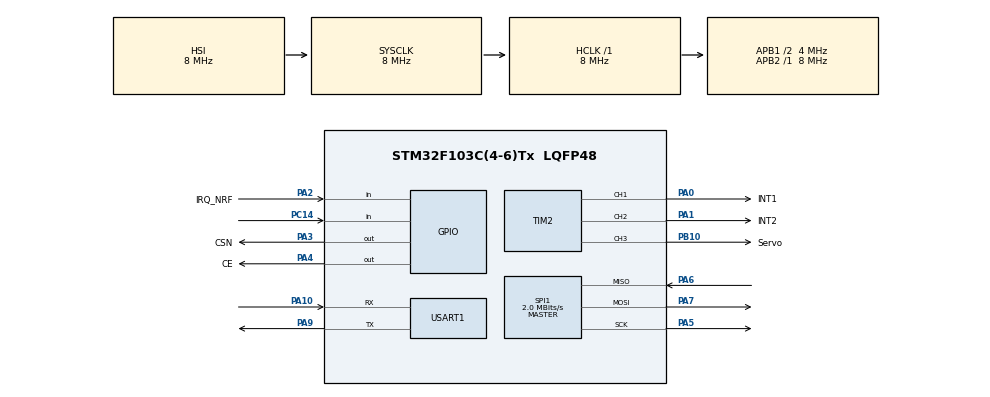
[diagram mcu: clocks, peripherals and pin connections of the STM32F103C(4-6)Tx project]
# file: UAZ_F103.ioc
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Mcu.Family=STM32F1
Mcu.Name=STM32F103C(4-6)Tx
Mcu.Package=LQFP48
NVIC.PriorityGroup=NVIC_PRIORITYGROUP_4
PA0-WKUP.GPIO_Label=INT1
PA0-WKUP.Signal=S_TIM2_CH1_ETR
PA1.GPIO_Label=INT2
PA1.Signal=S_TIM2_CH2
PA10.Mode=Asynchronous
PA10.Signal=USART1_RX
PA13.Mode=Serial_Wire
PA13.Signal=SYS_JTMS-SWDIO
PA14.Mode=Serial_Wire
PA14.Signal=SYS_JTCK-SWCLK
PA2.GPIO_Label=IRQ_NRF
PA2.Signal=GPIO_Input
PA3.GPIO_Label=CSN
PA3.Signal=GPIO_Output
PA4.GPIO_Label=CE
PA4.Signal=GPIO_Output
PA5.Mode=Full_Duplex_Master
PA5.Signal=SPI1_SCK
PA6.Mode=Full_Duplex_Master
PA6.Signal=SPI1_MISO
PA7.Mode=Full_Duplex_Master
PA7.Signal=SPI1_MOSI
PA9.Mode=Asynchronous
PA9.Signal=USART1_TX
PB10.GPIO_Label=Servo
PB10.Signal=S_TIM2_CH3
PC14-OSC32_IN.Signal=GPIO_Input
ProjectManager.HeapSize=0x200
ProjectManager.StackSize=0x400
ProjectManager.TargetToolchain=STM32CubeIDE
RCC.AHBFreq_Value=8000000
RCC.APB1CLKDivider=RCC_HCLK_DIV2
RCC.APB1Freq_Value=4000000
RCC.APB1TimFreq_Value=8000000
RCC.APB2Freq_Value=8000000
RCC.APB2TimFreq_Value=8000000
RCC.HCLKFreq_Value=8000000
RCC.PLLMUL=RCC_PLL_MUL8
RCC.SYSCLKFreq_VALUE=8000000
RCC.USBFreq_Value=32000000
SH.S_TIM2_CH1_ETR.0=TIM2_CH1,Output Compare1 CH1
SH.S_TIM2_CH2.0=TIM2_CH2,Output Compare2 CH2
SH.S_TIM2_CH3.0=TIM2_CH3,Output Compare3 CH3
SPI1.BaudRatePrescaler=SPI_BAUDRATEPRESCALER_4
SPI1.CalculateBaudRate=2.0 MBits/s
SPI1.Direction=SPI_DIRECTION_2LINES
SPI1.Mode=SPI_MODE_MASTER
SPI1.VirtualType=VM_MASTER
TIM2.Channel-Output\ Compare1\ CH1=TIM_CHANNEL_1
TIM2.Channel-Output\ Compare2\ CH2=TIM_CHANNEL_2
TIM2.Channel-Output\ Compare3\ CH3=TIM_CHANNEL_3
USART1.VirtualMode=VM_ASYNC
board=custom

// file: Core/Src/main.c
/* USER CODE BEGIN Header */
/**
 ******************************************************************************
 * @file           : main.c
 * @brief          : Main program body
 ******************************************************************************
 * @attention
 *
 * <h2><center>&copy; Copyright (c) 2023 STMicroelectronics.
 * All rights reserved.</center></h2>
 *
 * This software component is licensed by ST under BSD 3-Clause license,
 * the "License"; You may not use this file except in compliance with the
 * License. You may obtain a copy of the License at:
 *                        opensource.org/licenses/BSD-3-Clause
 *
 ******************************************************************************
 */
/* USER CODE END Header */
#include "main.h"

/* USER CODE BEGIN Includes */
#include "NRF24L01/NRF24.h"

#include <string.h>
/* USER CODE END Includes */

SPI_HandleTypeDef hspi1;

TIM_HandleTypeDef htim2;

UART_HandleTypeDef huart1;

/* USER CODE BEGIN PV */
uint64_t RxpipeAddrs = 0x11223344AA;
char myRxData[50];
char myAckPayload[32] = "Ack by STMF4!";
char str[] = "OK!!! \r\n";
/* USER CODE END PV */

void SystemClock_Config(void);
static void MX_GPIO_Init(void);
static void MX_SPI1_Init(void);
static void MX_USART1_UART_Init(void);
static void MX_TIM2_Init(void);

int main(void)
{

  /* MCU Configuration--------------------------------------------------------*/

  /* Reset of all peripherals, Initializes the Flash interface and the Systick. */
  HAL_Init();

  /* Configure the system clock */
  SystemClock_Config();

  /* Initialize all configured peripherals */
  MX_GPIO_Init();
  MX_SPI1_Init();
  MX_USART1_UART_Init();
  MX_TIM2_Init();
  /* USER CODE BEGIN 2 */
	HAL_Delay(5);

	NRF24_begin(GPIOA, GPIO_PIN_3, GPIO_PIN_4, hspi1);
	nrf24_DebugUART_Init(huart1);

	NRF24_setAutoAck(true);
	NRF24_setDataRate(RF24_250KBPS);
	NRF24_setChannel(52);
	NRF24_setPayloadSize(32);
	NRF24_openReadingPipe(1, RxpipeAddrs);
	NRF24_enableDynamicPayloads();
	NRF24_enableAckPayload();
	printRadioSettings();
	NRF24_startListening();

  /* USER CODE END 2 */

  /* Infinite loop */
  /* USER CODE BEGIN WHILE */
	while (1) {
		if (NRF24_available()) {
			NRF24_read(myRxData, 32);
			NRF24_writeAckPayload(1, myAckPayload, 32);
			myRxData[32] = '\r';
			myRxData[32 + 1] = '\n';
			HAL_UART_Transmit(&huart1, (uint8_t*) myRxData, 32 + 2, 10);
		}
		HAL_UART_Transmit(&huart1, (uint8_t*) str, strlen(str), HAL_MAX_DELAY);
    /* USER CODE END WHILE */

	}
}

void SystemClock_Config(void)
{
  RCC_OscInitTypeDef RCC_OscInitStruct = {0};
  RCC_ClkInitTypeDef RCC_ClkInitStruct = {0};

  /** Initializes the RCC Oscillators according to the specified parameters
  * in the RCC_OscInitTypeDef structure.
  */
  RCC_OscInitStruct.OscillatorType = RCC_OSCILLATORTYPE_HSI;
  RCC_OscInitStruct.HSIState = RCC_HSI_ON;
  RCC_OscInitStruct.HSICalibrationValue = RCC_HSICALIBRATION_DEFAULT;
  RCC_OscInitStruct.PLL.PLLState = RCC_PLL_NONE;
  if (HAL_RCC_OscConfig(&RCC_OscInitStruct) != HAL_OK)
  {
    Error_Handler();
  }
  /** Initializes the CPU, AHB and APB buses clocks
  */
  RCC_ClkInitStruct.ClockType = RCC_CLOCKTYPE_HCLK|RCC_CLOCKTYPE_SYSCLK
                              |RCC_CLOCKTYPE_PCLK1|RCC_CLOCKTYPE_PCLK2;
  RCC_ClkInitStruct.SYSCLKSource = RCC_SYSCLKSOURCE_HSI;
  RCC_ClkInitStruct.AHBCLKDivider = RCC_SYSCLK_DIV1;
  RCC_ClkInitStruct.APB1CLKDivider = RCC_HCLK_DIV2;
  RCC_ClkInitStruct.APB2CLKDivider = RCC_HCLK_DIV1;

  if (HAL_RCC_ClockConfig(&RCC_ClkInitStruct, FLASH_LATENCY_0) != HAL_OK)
  {
    Error_Handler();
  }
}

static void MX_SPI1_Init(void)
{

  /* SPI1 parameter configuration*/
  hspi1.Instance = SPI1;
  hspi1.Init.Mode = SPI_MODE_MASTER;
  hspi1.Init.Direction = SPI_DIRECTION_2LINES;
  hspi1.Init.DataSize = SPI_DATASIZE_8BIT;
  hspi1.Init.CLKPolarity = SPI_POLARITY_LOW;
  hspi1.Init.CLKPhase = SPI_PHASE_1EDGE;
  hspi1.Init.NSS = SPI_NSS_SOFT;
  hspi1.Init.BaudRatePrescaler = SPI_BAUDRATEPRESCALER_4;
  hspi1.Init.FirstBit = SPI_FIRSTBIT_MSB;
  hspi1.Init.TIMode = SPI_TIMODE_DISABLE;
  hspi1.Init.CRCCalculation = SPI_CRCCALCULATION_DISABLE;
  hspi1.Init.CRCPolynomial = 10;
  if (HAL_SPI_Init(&hspi1) != HAL_OK)
  {
    Error_Handler();
  }

}

static void MX_TIM2_Init(void)
{

  TIM_MasterConfigTypeDef sMasterConfig = {0};
  TIM_OC_InitTypeDef sConfigOC = {0};

  htim2.Instance = TIM2;
  htim2.Init.Prescaler = 0;
  htim2.Init.CounterMode = TIM_COUNTERMODE_UP;
  htim2.Init.Period = 65535;
  htim2.Init.ClockDivision = TIM_CLOCKDIVISION_DIV1;
  htim2.Init.AutoReloadPreload = TIM_AUTORELOAD_PRELOAD_DISABLE;
  if (HAL_TIM_OC_Init(&htim2) != HAL_OK)
  {
    Error_Handler();
  }
  sMasterConfig.MasterOutputTrigger = TIM_TRGO_RESET;
  sMasterConfig.MasterSlaveMode = TIM_MASTERSLAVEMODE_DISABLE;
  if (HAL_TIMEx_MasterConfigSynchronization(&htim2, &sMasterConfig) != HAL_OK)
  {
    Error_Handler();
  }
  sConfigOC.OCMode = TIM_OCMODE_TIMING;
  sConfigOC.Pulse = 0;
  sConfigOC.OCPolarity = TIM_OCPOLARITY_HIGH;
  sConfigOC.OCFastMode = TIM_OCFAST_DISABLE;
  if (HAL_TIM_OC_ConfigChannel(&htim2, &sConfigOC, TIM_CHANNEL_1) != HAL_OK)
  {
    Error_Handler();
  }
  if (HAL_TIM_OC_ConfigChannel(&htim2, &sConfigOC, TIM_CHANNEL_2) != HAL_OK)
  {
    Error_Handler();
  }
  if (HAL_TIM_OC_ConfigChannel(&htim2, &sConfigOC, TIM_CHANNEL_3) != HAL_OK)
  {
    Error_Handler();
  }
  HAL_TIM_MspPostInit(&htim2);

}

static void MX_USART1_UART_Init(void)
{

  huart1.Instance = USART1;
  huart1.Init.BaudRate = 115200;
  huart1.Init.WordLength = UART_WORDLENGTH_8B;
  huart1.Init.StopBits = UART_STOPBITS_1;
  huart1.Init.Parity = UART_PARITY_NONE;
  huart1.Init.Mode = UART_MODE_TX_RX;
  huart1.Init.HwFlowCtl = UART_HWCONTROL_NONE;
  huart1.Init.OverSampling = UART_OVERSAMPLING_16;
  if (HAL_UART_Init(&huart1) != HAL_OK)
  {
    Error_Handler();
  }

}

static void MX_GPIO_Init(void)
{
  GPIO_InitTypeDef GPIO_InitStruct = {0};

  /* GPIO Ports Clock Enable */
  __HAL_RCC_GPIOC_CLK_ENABLE();
  __HAL_RCC_GPIOA_CLK_ENABLE();
  __HAL_RCC_GPIOB_CLK_ENABLE();

  /*Configure GPIO pin Output Level */
  HAL_GPIO_WritePin(GPIOA, CSN_Pin|CE_Pin, GPIO_PIN_RESET);

  /*Configure GPIO pin : PC14 */
  GPIO_InitStruct.Pin = GPIO_PIN_14;
  GPIO_InitStruct.Mode = GPIO_MODE_INPUT;
  GPIO_InitStruct.Pull = GPIO_NOPULL;
  HAL_GPIO_Init(GPIOC, &GPIO_InitStruct);

  /*Configure GPIO pin : IRQ_NRF_Pin */
  GPIO_InitStruct.Pin = IRQ_NRF_Pin;
  GPIO_InitStruct.Mode = GPIO_MODE_INPUT;
  GPIO_InitStruct.Pull = GPIO_NOPULL;
  HAL_GPIO_Init(IRQ_NRF_GPIO_Port, &GPIO_InitStruct);

  /*Configure GPIO pins : CSN_Pin CE_Pin */
  GPIO_InitStruct.Pin = CSN_Pin|CE_Pin;
  GPIO_InitStruct.Mode = GPIO_MODE_OUTPUT_PP;
  GPIO_InitStruct.Pull = GPIO_NOPULL;
  GPIO_InitStruct.Speed = GPIO_SPEED_FREQ_LOW;
  HAL_GPIO_Init(GPIOA, &GPIO_InitStruct);

}

void Error_Handler(void)
{
	__disable_irq();
	while (1) {
	}
}

/************************ (C) COPYRIGHT STMicroelectronics *****END OF FILE****/
